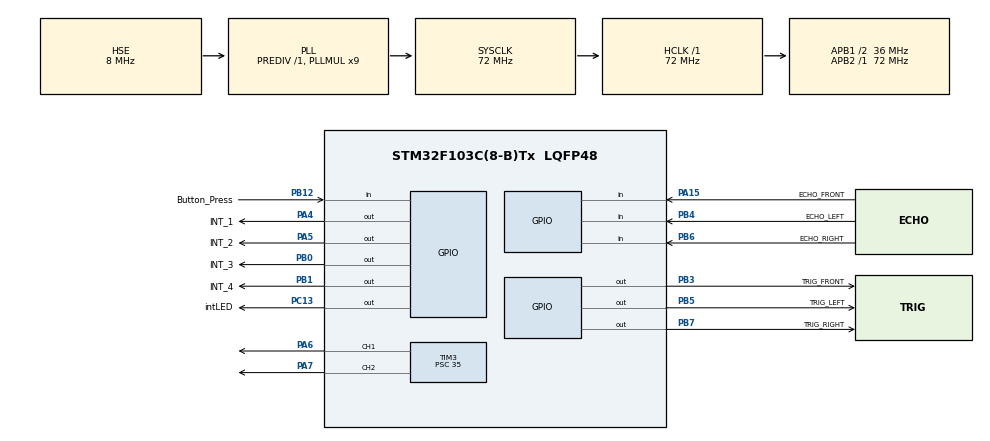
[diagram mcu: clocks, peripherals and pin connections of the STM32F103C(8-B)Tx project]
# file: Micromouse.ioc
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Mcu.Family=STM32F1
Mcu.Name=STM32F103C(8-B)Tx
Mcu.Package=LQFP48
NVIC.PriorityGroup=NVIC_PRIORITYGROUP_4
NVIC.TIM3_IRQn=true\:2\:0\:true\:false\:true\:true\:true\:true
PA13.Mode=Serial_Wire
PA13.Signal=SYS_JTMS-SWDIO
PA14.Mode=Serial_Wire
PA14.Signal=SYS_JTCK-SWCLK
PA15.GPIO_Label=ECHO_FRONT
PA15.Signal=GPIO_Input
PA4.GPIO_Label=INT_1
PA4.GPIO_PuPd=GPIO_PULLUP
PA4.Signal=GPIO_Output
PA5.GPIO_Label=INT_2
PA5.GPIO_PuPd=GPIO_PULLUP
PA5.Signal=GPIO_Output
PA6.Signal=S_TIM3_CH1
PA7.Signal=S_TIM3_CH2
PB0.GPIO_Label=INT_3
PB0.GPIO_PuPd=GPIO_PULLUP
PB0.Signal=GPIO_Output
PB1.GPIO_Label=INT_4
PB1.GPIO_PuPd=GPIO_PULLUP
PB1.Signal=GPIO_Output
PB12.GPIO_Label=Button_Press
PB12.GPIO_PuPd=GPIO_PULLUP
PB12.Signal=GPIO_Input
PB3.GPIO_Label=TRIG_FRONT
PB3.Signal=GPIO_Output
PB4.GPIO_Label=ECHO_LEFT
PB4.Signal=GPIO_Input
PB5.GPIO_Label=TRIG_LEFT
PB5.Signal=GPIO_Output
PB6.GPIO_Label=ECHO_RIGHT
PB6.Signal=GPIO_Input
PB7.GPIO_Label=TRIG_RIGHT
PB7.Signal=GPIO_Output
PC13-TAMPER-RTC.GPIO_Label=intLED
PC13-TAMPER-RTC.Signal=GPIO_Output
PD0-OSC_IN.Mode=HSE-External-Oscillator
PD0-OSC_IN.Signal=RCC_OSC_IN
PD1-OSC_OUT.Mode=HSE-External-Oscillator
PD1-OSC_OUT.Signal=RCC_OSC_OUT
ProjectManager.HeapSize=0x2040
ProjectManager.StackSize=0x200
ProjectManager.TargetToolchain=MDK-ARM V5.27
RCC.AHBFreq_Value=72000000
RCC.APB1CLKDivider=RCC_HCLK_DIV2
RCC.APB1Freq_Value=36000000
RCC.APB1TimFreq_Value=72000000
RCC.APB2Freq_Value=72000000
RCC.APB2TimFreq_Value=72000000
RCC.HCLKFreq_Value=72000000
RCC.PLLMUL=RCC_PLL_MUL9
RCC.PLLSourceVirtual=RCC_PLLSOURCE_HSE
RCC.SYSCLKFreq_VALUE=72000000
RCC.SYSCLKSource=RCC_SYSCLKSOURCE_PLLCLK
RCC.USBFreq_Value=72000000
SH.S_TIM3_CH1.0=TIM3_CH1,PWM Generation1 CH1
SH.S_TIM3_CH2.0=TIM3_CH2,PWM Generation2 CH2
TIM1.Prescaler=71
TIM3.Channel-PWM\ Generation1\ CH1=TIM_CHANNEL_1
TIM3.Channel-PWM\ Generation2\ CH2=TIM_CHANNEL_2
TIM3.Period=999
TIM3.Prescaler=35
VP_TIM1_VS_ClockSourceINT.Mode=Internal
VP_TIM3_VS_ClockSourceINT.Mode=Internal
board=custom

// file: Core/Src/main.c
/* USER CODE BEGIN Header */
/* USER CODE END Header */
#include "main.h"

/* USER CODE BEGIN Includes */
#include "init.h"
#include "motor.h"
/* USER CODE END Includes */

/* USER CODE BEGIN PD */

#ifndef true
#define true 1
#endif
#ifndef false
#define false 0
#endif
#ifndef COL
#define COL COL
#endif
#ifndef ROW
#define ROW ROW
#endif

#define checknorth ((thisnode->wallval >> 0)%2)
#define checkeast  ((thisnode->wallval >> 1)%2)
#define checksouth ((thisnode->wallval >> 2)%2)
#define checkwest  ((thisnode->wallval >> 3)%2)
#define NORTH 1
#define EAST 2
#define SOUTH 4
#define WEST 8
/* USER CODE END PD */

TIM_HandleTypeDef htim1;
TIM_HandleTypeDef htim3;

/* USER CODE BEGIN PV */
const char Wall = 'x';
const char Path = ' ';
uint16_t RSensor, FSensor, LSensor;
uint8_t check = 0;
uint16_t tempsen;
/* USER CODE END PV */

void SystemClock_Config(void);
static void MX_GPIO_Init(void);
static void MX_TIM1_Init(void);
static void MX_TIM3_Init(void);
/* USER CODE BEGIN PFP */
void delay_us(uint16_t us){
	__HAL_TIM_SetCounter(&htim1, 0);
	while(__HAL_TIM_GetCounter(&htim1) < us);
}

void trigger1(){
	HAL_GPIO_WritePin(TRIG_FRONT_GPIO_Port, TRIG_FRONT_Pin, 1);
	delay_us(1000);
	HAL_GPIO_WritePin(TRIG_FRONT_GPIO_Port, TRIG_FRONT_Pin, 0);
}
void trigger2(){
	HAL_GPIO_WritePin(TRIG_LEFT_GPIO_Port, TRIG_LEFT_Pin, 1);
	delay_us(1000);
	HAL_GPIO_WritePin(TRIG_LEFT_GPIO_Port, TRIG_LEFT_Pin, 0);
}
void trigger3(){
	HAL_GPIO_WritePin(TRIG_RIGHT_GPIO_Port, TRIG_RIGHT_Pin, 1);
	delay_us(1000);
	HAL_GPIO_WritePin(TRIG_RIGHT_GPIO_Port, TRIG_RIGHT_Pin, 0);
}

Node *newnode(uint8_t row, uint8_t col){
    Node *thisnode;
    thisnode = (Node*) malloc(sizeof(Node));
    ROW = row;
    COL = col;
    thisnode->visit = false;
    thisnode->wallval = 0;
    return thisnode;
}

Maze *newmaze(){
    Maze *thismaze;
    thismaze = (Maze*) malloc(sizeof(Maze));
    for (int row = 0; row<size; row++)
        for (int col = 0; col<size; col++)
            thismaze->map[row][col] = newnode(row,col);

    return thismaze;
}

Stack *newstack(){
    Stack *thisstack;
    thisstack = (Stack*) malloc(sizeof(Stack));
    thisstack->index = 0;
    return thisstack;
}

uint8_t checkgoal(Node *thisnode){
    if(ROW == size/2 || ROW == (size/2)-1)
        if(COL == size/2 || COL == (size/2)-1)
            return true;
    return false;
}

uint8_t checkstart(Node *thisnode){
    if(ROW == size-1 && COL == 0)
        return true;
    return false;
}

uint8_t checknull(uint8_t row, uint8_t col){
    if(row < 0 || row >= size || col < 0 || col >= size)
        return 1;
    else return 0;
}

void deleteNode(Node **thisnode){
    free (*thisnode);
    *thisnode = 0;
}

void deleteMaze(Maze **thismaze){
    for (int row = 0; row<size; row++)
        for (int col = 0; col<size; col++)
            deleteNode(&((*thismaze)->map[row][col]));
    free (*thismaze);
    *thismaze = 0;
}

void deleteStack(Stack **thisstack){
    for (int idx = ((*thisstack)->index)-1; idx>=0 ; idx--){
        deleteNode(&((*thisstack)->Stack[idx]));
    }
    free (*thisstack);
    *thisstack = 0;
}

void push(Stack **thisstack, Node **thisnode){
    (*thisstack)->Stack[(*thisstack)->index] = *thisnode;
    (*thisstack)->index += 1;
}

void pop(Stack **thisstack, Node **thisnode){
    (*thisstack)->index -=1;
    *thisnode = (*thisstack)->Stack[(*thisstack)->index];
}

void initial_maze(Maze *maze){
    for(int i =0; i<size;i++){
        for(int j=0;j<size;j++){
            maze->map[i][j]->floodval = -1;
        }
    }

    maze->map[size/2][size/2]->floodval = 0;
    maze->map[size/2 -1][size/2]->floodval = 0;
    maze->map[size/2][size/2 -1]->floodval =  0;
    maze->map[size/2 -1][size/2 -1]->floodval = 0;

    for(int i=0;i<size;i++){
        for(int j=0;j<size;j++){
            if(maze->map[i][j]->floodval !=0){
                int array[]={(abs(i-(size/2))+abs(j-(size/2))),(abs(i-(size/2 -1))+abs(j-(size/2))),(abs(i-(size/2))+abs(j-(size/2 -1))),(abs(i-(size/2 -1))+abs(j-(size/2 -1)))};
                int min =array[0];
                for(int k=1; k<4;k++){
                    if(min>array[k]){
                        min=array[k];
                    }
                }
                maze->map[i][j]->floodval=min;
                maze->map[i][j]->Mandis=min;
            }
        }
    }
}

void swap (Node **xp, Node **yp){
    Node *temp = *xp; *xp = *yp; *yp = temp;

}
uint8_t findnextdir(Node *thisnode, Maze *maze, uint8_t findmin){
    uint8_t min = 16, count = 0, next_dir;
    Node *neighbor[4];
    if (checknull(ROW-1, COL) == 0 && !checknorth) {
        neighbor[count] = maze->map[ROW - 1][COL];
        count +=1;
    }
    if (checknull(ROW, COL+1) == 0 && !checkeast) {
        neighbor[count] = maze->map[ROW][COL + 1];
        count +=1;
    }
    if (checknull(ROW+1, COL) == 0 && !checksouth) {
        neighbor[count] = maze->map[ROW + 1][COL];
        count +=1;
    }
    if (checknull(ROW, COL-1) == 0 && !checkwest) {
        neighbor[count] = maze->map[ROW][COL - 1];
        count +=1;
    }

    for (int i = 0; i < count-1; i++){
        for (int j = 1; j < count; j++){
            if (neighbor[i]->floodval > neighbor[j]->floodval)
                swap(&(neighbor[i]), &(neighbor[j]));
            else if (neighbor[i]->floodval == neighbor[j]->floodval){
                if (neighbor[i]->visit > neighbor[j]->visit )
                    swap(&(neighbor[i]), &(neighbor[j]));
                else if (neighbor[i]->visit == neighbor[j]->visit){
                    if (neighbor[i]->Mandis > neighbor[j]->Mandis)
                        swap(&(neighbor[i]), &(neighbor[j]));
                }
            }
        }
    }

    if (findmin == true)
        return neighbor[0]->floodval;

    if (maze->map[ROW - 1][COL] == neighbor[0]) next_dir = NORTH;
    else if (maze->map[ROW][COL + 1] == neighbor[0]) next_dir = EAST;
    else if (maze->map[ROW + 1][COL] == neighbor[0]) next_dir = SOUTH;
    else if (maze->map[ROW][COL - 1] == neighbor[0]) next_dir = WEST;
    return next_dir;
}

void moveto(Node **pos, uint8_t *dir, Maze *maze, uint8_t next_dir){
    uint8_t rotation;
    rotation = (4*(*dir))/next_dir;
    if(rotation == 0)
        rotation = 8;
    if(rotation == 32)
        rotation = 2;
    switch(rotation){
        case 2:
            TurnRight();
						HAL_Delay(200);
            break;
        case 8:
            TurnLeft();
						HAL_Delay(200);
            break;
        case 1:
        case 16:
            Turn180();
						HAL_Delay(200);

        case 4:
            break;
        default: ;
    }
	uint16_t addi = 0;

	switch(next_dir){
		case NORTH:
			if(((*pos)->wallval >> 2)%2 == true)
				{
					MoveBackward();
					HAL_Delay(410);
					Stop();
					HAL_Delay(100);
					addi = 40;
				}
			break;
		case SOUTH:
			if(((*pos)->wallval >> 0)%2 == true)
				{
					MoveBackward();
					HAL_Delay(410);
					Stop();
					HAL_Delay(100);
					addi = 40;
				}
				break;
		case EAST:
			if(((*pos)->wallval >> 3)%2 == true)
				{
					MoveBackward();
					HAL_Delay(410);
					Stop();
					HAL_Delay(100);
					addi = 40;
				}
				break;
		case WEST:
			if(((*pos)->wallval >> 1)%2 == true)
				{
					MoveBackward();
					HAL_Delay(410);
					Stop();
					HAL_Delay(100);
					addi = 40;
				}
				break;

	}

/*
	uint16_t start = HAL_GetTick();

	while(HAL_GetTick() - start < (600+addi)){
		uint8_t count = 0;
		LSensor = RSensor = 0;
			MoveForward();
		for (; count <= 20; count++){
		trigger2();
		while(HAL_GPIO_ReadPin(ECHO_LEFT_GPIO_Port, ECHO_LEFT_Pin) == 0){check = 1;}
		check = 0;
		__HAL_TIM_SetCounter(&htim1, 0);
		while(HAL_GPIO_ReadPin(ECHO_LEFT_GPIO_Port, ECHO_LEFT_Pin) == 1){}
		LSensor += __HAL_TIM_GetCounter(&htim1)/5.8;
		HAL_Delay(10);

		//
		trigger3();
		while(HAL_GPIO_ReadPin(ECHO_RIGHT_GPIO_Port, ECHO_RIGHT_Pin) == 0){check = 1;}
		check = 0;
		__HAL_TIM_SetCounter(&htim1, 0);
		while(HAL_GPIO_ReadPin(ECHO_RIGHT_GPIO_Port, ECHO_RIGHT_Pin) == 1){}
		RSensor += __HAL_TIM_GetCounter(&htim1)/5.8;
		HAL_Delay(10);
		}
		CheckForward(LSensor, RSensor);
		HAL_Delay(50);
	}
*/
	MoveForward();
	HAL_Delay(845+addi);
//	HAL_Delay(710+addi/10);
	Stop();

	trigger1();
	while(HAL_GPIO_ReadPin(ECHO_FRONT_GPIO_Port, ECHO_FRONT_Pin) == 0){check = 1;}
	check = 0;
	__HAL_TIM_SetCounter(&htim1, 0);
	while(HAL_GPIO_ReadPin(ECHO_FRONT_GPIO_Port, ECHO_FRONT_Pin) == 1){}
	FSensor = __HAL_TIM_GetCounter(&htim1)/5.8;
	HAL_Delay(10);
	if(FSensor < 100){
		MoveForward();
		HAL_Delay(420);
		Stop();
		HAL_Delay(80);
		MoveBackwardSlow();
		HAL_Delay(170);
		Stop();
	}

	addi = 0;

    *dir = next_dir;
    switch(next_dir){
        case NORTH:
            *pos = maze->map[(*pos)->row - 1][(*pos)->col];
            break;
        case EAST:
            *pos = maze->map[(*pos)->row][(*pos)->col + 1];
            break;
        case SOUTH:
            *pos = maze->map[(*pos)->row + 1][(*pos)->col];
            break;
        case WEST:
            *pos = maze->map[(*pos)->row][(*pos)->col - 1];
    }
}

void recalculate(Node *thisnode, Maze *maze, Stack *stack){
    push(&stack, &thisnode);
    do{
        pop(&stack, &thisnode);
        uint8_t min = findnextdir(thisnode, maze, true);
        if(thisnode->floodval <= min){
            thisnode->floodval = min+1;
            if(checknull(ROW, COL-1) == 0 && !checkwest){
                push(&stack,&(maze->map[ROW][COL - 1]));
            }
            if(checknull(ROW+1, COL) == 0 && !checksouth){
                push(&stack,&(maze->map[ROW + 1][COL]));
            }
            if(checknull(ROW, COL+1) == 0 && !checkeast){
                push(&stack,&(maze->map[ROW][COL + 1]));
            }
            if(checknull(ROW-1, COL) == 0 && !checknorth){
                push(&stack,&(maze->map[ROW - 1][COL]));
            }
        }
    }
    while(stack->index != 0);
}

uint8_t checkstack(Stack *thisstack, Node *thisnode){
    for (int i = 0; i < thisstack->index; i++)
        if (thisnode == (thisstack->Stack[i]))
            return 0;
    return 1;
}

void reflood(Maze *maze, uint8_t togoal){
    Stack *stack1 = newstack(), *stack2 = newstack();
    Node *thisnode;
    uint8_t i = 0;
    for(int i =0; i<size;i++){
        for(int j=0;j<size;j++){
            maze->map[i][j]->floodval = 255;
        }
    }

    if (togoal == true){
        maze->map[size/2][size/2]->floodval = 0;
        maze->map[size/2 -1][size/2]->floodval = 0;
        maze->map[size/2][size/2 -1]->floodval =  0;
        maze->map[size/2 -1][size/2 -1]->floodval = 0;

        push(&stack1, &(maze->map[size/2][size/2-1]));
        push(&stack1, &(maze->map[size/2][size/2]));
        push(&stack1, &(maze->map[size/2-1][size/2-1]));
        push(&stack1, &(maze->map[size/2-1][size/2]));
    }

    else {
        maze->map[size-1][0]->floodval = 0;
        push(&stack1, &(maze->map[size-1][0]));
    }

    do {
        do {
            pop(&stack1, &thisnode);
            if(checknull(ROW, COL - 1) == 0 && !checkwest  && (maze->map[ROW][COL - 1]->floodval)>i+1 && checkstack(stack2, maze->map[ROW][COL - 1])){
                maze->map[ROW][COL - 1]->floodval = i+1;
                push(&stack2,&(maze->map[ROW][COL - 1]));
            }
            if(checknull(ROW + 1, COL) == 0 && !checksouth && (maze->map[ROW + 1][COL]->floodval)>i+1 && checkstack(stack2, maze->map[ROW + 1][COL])){
                maze->map[ROW + 1][COL]->floodval = i+1;
                push(&stack2,&(maze->map[ROW + 1][COL]));
            }
            if(checknull(ROW, COL + 1) == 0 && !checkeast  && (maze->map[ROW][COL + 1]->floodval)>i+1 && checkstack(stack2, maze->map[ROW][COL + 1])){
                maze->map[ROW][COL + 1]->floodval = i+1;
                push(&stack2,&(maze->map[ROW][COL + 1]));
            }
            if(checknull(ROW - 1, COL) == 0 && !checknorth && (maze->map[ROW - 1][COL]->floodval)>i+1 && checkstack(stack2, maze->map[ROW - 1][COL])){
                maze->map[ROW - 1][COL]->floodval = i+1;
                push(&stack2,&(maze->map[ROW - 1][COL]));
            }
        } while (stack1->index != 0);
        Stack *temp = stack1;
        stack1 = stack2;
        stack2 = temp;
        i++;
    } while (stack1->index != 0);

    deleteStack(&stack1);
    deleteStack(&stack2);
}

void updatecell(Node *thisnode, Maze *maze, uint8_t dir){
    switch (dir)
    {
    case SOUTH:
        if (checknull(ROW+1, COL) == 0)
            maze->map[ROW + 1][COL]->wallval = maze->map[ROW + 1][COL]->wallval | NORTH;
        break;
    case NORTH:
        if (checknull(ROW-1, COL) == 0)
            maze->map[ROW - 1][COL]->wallval = maze->map[ROW - 1][COL]->wallval | SOUTH;
        break;
    case EAST:
        if (checknull(ROW, COL+1) == 0)
            maze->map[ROW][COL + 1]->wallval = maze->map[ROW][COL + 1]->wallval | WEST;
        break;
    case WEST:
        if (checknull(ROW, COL-1) == 0)
            maze->map[ROW][COL - 1]->wallval = maze->map[ROW][COL - 1]->wallval | EAST;
        break;
    default:
        break;
    };
}

/* USER CODE END PFP */

int main(void)
{

  /* MCU Configuration--------------------------------------------------------*/

  /* Reset of all peripherals, Initializes the Flash interface and the Systick. */
  HAL_Init();

  /* Configure the system clock */
  SystemClock_Config();

  /* Initialize all configured peripherals */
  MX_GPIO_Init();
  MX_TIM1_Init();
  MX_TIM3_Init();
  /* USER CODE BEGIN 2 */
	HAL_TIM_Base_Start(&htim1);

	HAL_TIM_Base_Start(&htim3);
	HAL_TIM_PWM_Start(&htim3,TIM_CHANNEL_1);
	HAL_TIM_PWM_Start(&htim3,TIM_CHANNEL_2);

	char maze_text[2*size + 1][2*size + 1] = {
{'x',	'x',	'x',	'x',	'x',	'x',	'x',	'x',	'x',	'x',	'x',	'x',	'x',	'x',	'x',	'x',	'x',	'x',	'x',	'x',	'x',	'x',	'x',	'x',	'x',	'x',	'x',	'x',	'x',	'x',	'x',	'x',	'x'	 },
{'x',	' ',	' ',	' ',	' ',	' ',	' ',	' ',	' ',	' ',	' ',	' ',	'x',	' ',	' ',	' ',	' ',	' ',	' ',	' ',	' ',	' ',	' ',	' ',	' ',	' ',	' ',	' ',	' ',	' ',	' ',	' ',	'x'	 },
{'x',	' ',	'x',	'x',	'x',	'x',	'x',	'x',	'x',	' ',	'x',	'x',	'x',	' ',	'x',	'x',	'x',	' ',	'x',	'x',	'x',	'x',	'x',	'x',	'x',	'x',	'x',	' ',	'x',	' ',	'x',	' ',	'x'	 },
{'x',	' ',	' ',	' ',	' ',	' ',	' ',	' ',	' ',	' ',	' ',	' ',	'x',	' ',	' ',	' ',	'x',	' ',	'x',	' ',	' ',	' ',	' ',	' ',	'x',	' ',	'x',	' ',	'x',	' ',	'x',	' ',	'x'	 },
{'x',	' ',	'x',	' ',	'x',	' ',	'x',	'x',	'x',	'x',	'x',	' ',	'x',	' ',	'x',	'x',	'x',	' ',	'x',	' ',	'x',	'x',	'x',	' ',	'x',	' ',	'x',	' ',	'x',	' ',	'x',	' ',	'x'	 },
{'x',	' ',	'x',	' ',	'x',	' ',	' ',	' ',	' ',	' ',	'x',	' ',	'x',	' ',	' ',	' ',	' ',	' ',	' ',	' ',	' ',	' ',	' ',	' ',	' ',	' ',	' ',	' ',	' ',	' ',	'x',	' ',	'x'	 },
{'x',	' ',	'x',	' ',	'x',	'x',	'x',	'x',	'x',	'x',	'x',	' ',	'x',	' ',	'x',	'x',	'x',	'x',	'x',	'x',	'x',	'x',	'x',	'x',	'x',	'x',	'x',	' ',	'x',	' ',	'x',	' ',	'x'	 },
{'x',	' ',	' ',	' ',	'x',	' ',	' ',	' ',	' ',	' ',	'x',	' ',	' ',	' ',	'x',	' ',	' ',	' ',	'x',	' ',	' ',	' ',	' ',	' ',	'x',	' ',	'x',	' ',	'x',	' ',	' ',	' ',	'x'	 },
{'x',	'x',	'x',	' ',	'x',	' ',	'x',	'x',	'x',	' ',	'x',	' ',	'x',	' ',	'x',	' ',	'x',	' ',	'x',	' ',	'x',	'x',	'x',	' ',	'x',	' ',	'x',	' ',	'x',	'x',	'x',	'x',	'x'	 },
{'x',	' ',	' ',	' ',	'x',	' ',	'x',	' ',	' ',	' ',	'x',	' ',	'x',	' ',	'x',	' ',	'x',	' ',	' ',	' ',	'x',	' ',	' ',	' ',	'x',	' ',	' ',	' ',	' ',	' ',	' ',	' ',	'x'	 },
{'x',	' ',	'x',	' ',	'x',	' ',	'x',	' ',	'x',	' ',	'x',	' ',	'x',	' ',	'x',	' ',	'x',	'x',	'x',	' ',	'x',	'x',	'x',	' ',	'x',	'x',	'x',	'x',	'x',	' ',	'x',	' ',	'x'	 },
{'x',	' ',	' ',	' ',	'x',	' ',	' ',	' ',	'x',	' ',	' ',	' ',	'x',	' ',	'x',	' ',	' ',	' ',	' ',	' ',	'x',	' ',	'x',	' ',	' ',	' ',	' ',	' ',	' ',	' ',	'x',	' ',	'x'	 },
{'x',	' ',	'x',	'x',	'x',	' ',	'x',	'x',	'x',	'x',	'x',	' ',	'x',	' ',	'x',	' ',	'x',	'x',	'x',	'x',	'x',	' ',	'x',	' ',	'x',	'x',	'x',	'x',	'x',	'x',	'x',	' ',	'x'	 },
{'x',	' ',	' ',	' ',	' ',	' ',	' ',	' ',	' ',	' ',	' ',	' ',	'x',	' ',	'x',	' ',	' ',	' ',	'x',	' ',	'x',	' ',	' ',	' ',	'x',	' ',	' ',	' ',	' ',	' ',	' ',	' ',	'x'	 },
{'x',	' ',	'x',	'x',	'x',	'x',	'x',	'x',	'x',	'x',	'x',	'x',	'x',	' ',	'x',	'x',	'x',	' ',	'x',	' ',	'x',	' ',	'x',	'x',	'x',	' ',	'x',	'x',	'x',	'x',	'x',	' ',	'x'	 },
{'x',	' ',	' ',	' ',	' ',	' ',	' ',	' ',	' ',	' ',	'x',	' ',	' ',	' ',	'x',	' ',	' ',	' ',	'x',	' ',	'x',	' ',	'x',	' ',	' ',	' ',	'x',	' ',	' ',	' ',	' ',	' ',	'x'	 },
{'x',	' ',	'x',	'x',	'x',	' ',	'x',	'x',	'x',	' ',	'x',	' ',	'x',	'x',	'x',	' ',	'x',	' ',	'x',	' ',	'x',	' ',	'x',	' ',	'x',	' ',	'x',	' ',	'x',	' ',	'x',	'x',	'x'	 },
{'x',	' ',	' ',	' ',	' ',	' ',	' ',	' ',	'x',	' ',	'x',	' ',	' ',	' ',	'x',	' ',	' ',	' ',	'x',	' ',	'x',	' ',	'x',	' ',	'x',	' ',	'x',	' ',	'x',	' ',	' ',	' ',	'x'	 },
{'x',	' ',	'x',	' ',	'x',	'x',	'x',	' ',	'x',	' ',	'x',	' ',	'x',	' ',	'x',	'x',	'x',	'x',	'x',	' ',	'x',	' ',	'x',	' ',	'x',	' ',	'x',	' ',	'x',	' ',	'x',	'x',	'x'	 },
{'x',	' ',	'x',	' ',	'x',	' ',	' ',	' ',	'x',	' ',	'x',	' ',	'x',	' ',	'x',	' ',	' ',	' ',	' ',	' ',	' ',	' ',	'x',	' ',	' ',	' ',	'x',	' ',	' ',	' ',	' ',	' ',	'x'	 },
{'x',	' ',	'x',	' ',	'x',	' ',	'x',	' ',	'x',	' ',	'x',	' ',	'x',	' ',	'x',	' ',	'x',	' ',	'x',	'x',	'x',	'x',	'x',	'x',	'x',	' ',	'x',	' ',	'x',	'x',	'x',	' ',	'x'	 },
{'x',	' ',	'x',	' ',	'x',	' ',	'x',	' ',	' ',	' ',	'x',	' ',	' ',	' ',	'x',	' ',	'x',	' ',	' ',	' ',	' ',	' ',	'x',	' ',	' ',	' ',	'x',	' ',	'x',	' ',	' ',	' ',	'x'	 },
{'x',	' ',	'x',	' ',	'x',	' ',	'x',	' ',	'x',	' ',	'x',	' ',	'x',	'x',	'x',	' ',	'x',	'x',	'x',	'x',	'x',	'x',	'x',	' ',	'x',	'x',	'x',	' ',	'x',	' ',	'x',	' ',	'x'	 },
{'x',	' ',	'x',	' ',	' ',	' ',	'x',	' ',	'x',	' ',	'x',	' ',	' ',	' ',	' ',	' ',	' ',	' ',	'x',	' ',	' ',	' ',	' ',	' ',	' ',	' ',	' ',	' ',	' ',	' ',	'x',	' ',	'x'	 },
{'x',	' ',	'x',	' ',	'x',	'x',	'x',	' ',	'x',	' ',	'x',	' ',	'x',	'x',	'x',	' ',	'x',	' ',	'x',	' ',	'x',	'x',	'x',	'x',	'x',	'x',	'x',	' ',	'x',	'x',	'x',	' ',	'x'	 },
{'x',	' ',	'x',	' ',	' ',	' ',	'x',	' ',	'x',	' ',	'x',	' ',	' ',	' ',	'x',	' ',	'x',	' ',	' ',	' ',	'x',	' ',	' ',	' ',	' ',	' ',	' ',	' ',	' ',	' ',	' ',	' ',	'x'	 },
{'x',	' ',	'x',	'x',	'x',	' ',	'x',	' ',	'x',	' ',	'x',	'x',	'x',	' ',	'x',	' ',	'x',	'x',	'x',	' ',	'x',	'x',	'x',	' ',	'x',	'x',	'x',	'x',	'x',	'x',	'x',	'x',	'x'	 },
{'x',	' ',	'x',	' ',	' ',	' ',	'x',	' ',	' ',	' ',	' ',	' ',	' ',	' ',	'x',	' ',	' ',	' ',	'x',	' ',	'x',	' ',	' ',	' ',	'x',	' ',	' ',	' ',	' ',	' ',	'x',	' ',	'x'	 },
{'x',	' ',	'x',	' ',	'x',	'x',	'x',	' ',	'x',	'x',	'x',	'x',	'x',	' ',	'x',	' ',	'x',	'x',	'x',	' ',	'x',	' ',	'x',	' ',	'x',	'x',	'x',	'x',	'x',	' ',	'x',	' ',	'x'	 },
{'x',	' ',	' ',	' ',	' ',	' ',	'x',	' ',	' ',	' ',	' ',	' ',	' ',	' ',	'x',	' ',	' ',	' ',	'x',	' ',	'x',	' ',	'x',	' ',	' ',	' ',	' ',	' ',	' ',	' ',	' ',	' ',	'x'	 },
{'x',	' ',	'x',	'x',	'x',	' ',	'x',	' ',	'x',	'x',	'x',	'x',	'x',	'x',	'x',	' ',	'x',	' ',	'x',	' ',	'x',	' ',	'x',	' ',	'x',	' ',	'x',	' ',	'x',	'x',	'x',	' ',	'x'	 },
{'x',	' ',	'x',	' ',	' ',	' ',	'x',	' ',	'x',	' ',	' ',	' ',	' ',	' ',	' ',	' ',	'x',	' ',	' ',	' ',	'x',	' ',	' ',	' ',	'x',	' ',	'x',	' ',	' ',	' ',	' ',	' ',	'x'	 },
{'x',	'x',	'x',	'x',	'x',	'x',	'x',	'x',	'x',	'x',	'x',	'x',	'x',	'x',	'x',	'x',	'x',	'x',	'x',	'x',	'x',	'x',	'x',	'x',	'x',	'x',	'x',	'x',	'x',	'x',	'x',	'x',	'x'	 },

};

	Maze *maze = newmaze();
	Stack *stack = newstack();
	Node *pos, *nextnode;
	initial_maze(maze);
	uint8_t dir, next_dir, movecount, goalcount, togoal = true;
	pos = maze->map[size-1][0];
	dir = NORTH;
	HAL_Delay(1000);
	HAL_GPIO_WritePin(intLED_GPIO_Port, intLED_Pin, 0);
	HAL_Delay(500);
	HAL_GPIO_WritePin(intLED_GPIO_Port, intLED_Pin, 1);
	uint8_t readmaptext = 0, min;
	uint8_t ButtonPressed;

	while(0)
 {
		MoveForward();

	 } /* USER CODE END 2 */

  /* Infinite loop */
  /* USER CODE BEGIN WHILE */

	 while (1){
		if(0){
			HAL_Delay(20);
			if(HAL_GPIO_ReadPin(GPIOA, Button_Press_Pin)){
				pos->visit = false;
				pos = maze->map[size-1][0];
				dir = NORTH;
				while(HAL_GPIO_ReadPin(GPIOA, Button_Press_Pin));
				HAL_Delay(1000);
			}
		}
	HAL_Delay(800);
	//read sensor
	trigger1();
	while(HAL_GPIO_ReadPin(ECHO_FRONT_GPIO_Port, ECHO_FRONT_Pin) == 0){check = 1;}
	check = 0;
	__HAL_TIM_SetCounter(&htim1, 0);
	while(HAL_GPIO_ReadPin(ECHO_FRONT_GPIO_Port, ECHO_FRONT_Pin) == 1){}
	FSensor = __HAL_TIM_GetCounter(&htim1)/58;
	HAL_Delay(10);

	//
	trigger2();
	while(HAL_GPIO_ReadPin(ECHO_LEFT_GPIO_Port, ECHO_LEFT_Pin) == 0){check = 1;}
	check = 0;
	__HAL_TIM_SetCounter(&htim1, 0);
	while(HAL_GPIO_ReadPin(ECHO_LEFT_GPIO_Port, ECHO_LEFT_Pin) == 1){}
	LSensor = __HAL_TIM_GetCounter(&htim1)/58;
	HAL_Delay(10);

	//
	trigger3();
	while(HAL_GPIO_ReadPin(ECHO_RIGHT_GPIO_Port, ECHO_RIGHT_Pin) == 0){check = 1;}
	check = 0;
	__HAL_TIM_SetCounter(&htim1, 0);
	while(HAL_GPIO_ReadPin(ECHO_RIGHT_GPIO_Port, ECHO_RIGHT_Pin) == 1){}
	RSensor = __HAL_TIM_GetCounter(&htim1)/58;
	HAL_Delay(10);
		if(readmaptext == 0 & (pos->visit)==0){
			if (FSensor <= 10) {
					pos->wallval = pos->wallval | dir;
					updatecell(pos, maze, dir);
			}
			if (RSensor <= 7) {
					pos->wallval = pos->wallval | ((dir == WEST) ? NORTH : dir*2);
					updatecell(pos, maze, dir*2);
			}
			if (LSensor <= 7) {
					pos->wallval = pos->wallval | ((dir == NORTH) ? WEST : dir/2);
					updatecell(pos, maze, dir/2);
			}
			pos->visit = true;
		}

		if(readmaptext==1 & (pos->visit)==0){
			if (maze_text[2*(pos->row)+2][2*(pos->col)+1] == Wall) {
				pos->wallval = pos->wallval | SOUTH;
				updatecell(pos, maze, SOUTH);
			}
			if (maze_text[2*(pos->row)][2*(pos->col)+1] == Wall) {
				pos->wallval = pos->wallval | NORTH;
				updatecell(pos, maze, NORTH);
			}
			if (maze_text[2*(pos->row)+1][2*(pos->col)+2] == Wall) {
				pos->wallval = pos->wallval | EAST;
				updatecell(pos, maze, EAST);
			}
			if (maze_text[2*(pos->row)+1][2*(pos->col)] == Wall) {
				pos->wallval = pos->wallval | WEST;
				updatecell(pos, maze, WEST);
			}
			pos->visit = true;
		}

		recalculate(pos, maze, stack);
		next_dir = findnextdir(pos, maze, false);
		moveto(&pos, &dir, maze, next_dir);
			HAL_GPIO_WritePin(intLED_GPIO_Port, intLED_Pin, 0);
			HAL_Delay(100);
			HAL_GPIO_WritePin(intLED_GPIO_Port, intLED_Pin, 1);
			HAL_Delay(100);
		if(checkgoal(pos) && togoal){
			Node *temp = pos;
			do{
				if(readmaptext & !(pos->visit)){
					if (maze_text[2*(pos->row)+2][2*(pos->col)+1] == Wall) {
						pos->wallval = pos->wallval | SOUTH;
						updatecell(pos, maze, SOUTH);
					}
					if (maze_text[2*(pos->row)][2*(pos->col)+1] == Wall) {
						pos->wallval = pos->wallval | NORTH;
						updatecell(pos, maze, NORTH);
					}
					if (maze_text[2*(pos->row)+1][2*(pos->col)+2] == Wall) {
						pos->wallval = pos->wallval | EAST;
						updatecell(pos, maze, EAST);
					}
					if (maze_text[2*(pos->row)+1][2*(pos->col)] == Wall) {
						pos->wallval = pos->wallval | WEST;
						updatecell(pos, maze, WEST);
					}
					pos->visit = true;
				}
				else break;
				moveto(&pos, &dir, maze, next_dir);
				next_dir = findnextdir(pos, maze, false);
			} while(pos != temp);

			togoal = false;
			reflood(maze, togoal);
			while(1){
			HAL_GPIO_WritePin(intLED_GPIO_Port, intLED_Pin, 0);
			HAL_Delay(1000);
			HAL_GPIO_WritePin(intLED_GPIO_Port, intLED_Pin, 1);
			HAL_Delay(1000);}
	}

		if (checkstart(pos) && !togoal){
			togoal = true;
			reflood(maze, togoal);
			HAL_GPIO_WritePin(intLED_GPIO_Port, intLED_Pin, 0);
			HAL_Delay(2000);
			HAL_GPIO_WritePin(intLED_GPIO_Port, intLED_Pin, 1);
			HAL_Delay(2000);
		}

}

    /* USER CODE END WHILE */

}

void SystemClock_Config(void)
{
  RCC_OscInitTypeDef RCC_OscInitStruct = {0};
  RCC_ClkInitTypeDef RCC_ClkInitStruct = {0};

  /** Initializes the RCC Oscillators according to the specified parameters
  * in the RCC_OscInitTypeDef structure.
  */
  RCC_OscInitStruct.OscillatorType = RCC_OSCILLATORTYPE_HSE;
  RCC_OscInitStruct.HSEState = RCC_HSE_ON;
  RCC_OscInitStruct.HSEPredivValue = RCC_HSE_PREDIV_DIV1;
  RCC_OscInitStruct.HSIState = RCC_HSI_ON;
  RCC_OscInitStruct.PLL.PLLState = RCC_PLL_ON;
  RCC_OscInitStruct.PLL.PLLSource = RCC_PLLSOURCE_HSE;
  RCC_OscInitStruct.PLL.PLLMUL = RCC_PLL_MUL9;
  if (HAL_RCC_OscConfig(&RCC_OscInitStruct) != HAL_OK)
  {
    Error_Handler();
  }

  /** Initializes the CPU, AHB and APB buses clocks
  */
  RCC_ClkInitStruct.ClockType = RCC_CLOCKTYPE_HCLK|RCC_CLOCKTYPE_SYSCLK
                              |RCC_CLOCKTYPE_PCLK1|RCC_CLOCKTYPE_PCLK2;
  RCC_ClkInitStruct.SYSCLKSource = RCC_SYSCLKSOURCE_PLLCLK;
  RCC_ClkInitStruct.AHBCLKDivider = RCC_SYSCLK_DIV1;
  RCC_ClkInitStruct.APB1CLKDivider = RCC_HCLK_DIV2;
  RCC_ClkInitStruct.APB2CLKDivider = RCC_HCLK_DIV1;

  if (HAL_RCC_ClockConfig(&RCC_ClkInitStruct, FLASH_LATENCY_2) != HAL_OK)
  {
    Error_Handler();
  }
}

static void MX_TIM1_Init(void)
{

  TIM_ClockConfigTypeDef sClockSourceConfig = {0};
  TIM_MasterConfigTypeDef sMasterConfig = {0};

  htim1.Instance = TIM1;
  htim1.Init.Prescaler = 71;
  htim1.Init.CounterMode = TIM_COUNTERMODE_UP;
  htim1.Init.Period = 65535;
  htim1.Init.ClockDivision = TIM_CLOCKDIVISION_DIV1;
  htim1.Init.RepetitionCounter = 0;
  htim1.Init.AutoReloadPreload = TIM_AUTORELOAD_PRELOAD_DISABLE;
  if (HAL_TIM_Base_Init(&htim1) != HAL_OK)
  {
    Error_Handler();
  }
  sClockSourceConfig.ClockSource = TIM_CLOCKSOURCE_INTERNAL;
  if (HAL_TIM_ConfigClockSource(&htim1, &sClockSourceConfig) != HAL_OK)
  {
    Error_Handler();
  }
  sMasterConfig.MasterOutputTrigger = TIM_TRGO_RESET;
  sMasterConfig.MasterSlaveMode = TIM_MASTERSLAVEMODE_DISABLE;
  if (HAL_TIMEx_MasterConfigSynchronization(&htim1, &sMasterConfig) != HAL_OK)
  {
    Error_Handler();
  }

}

static void MX_TIM3_Init(void)
{

  TIM_ClockConfigTypeDef sClockSourceConfig = {0};
  TIM_MasterConfigTypeDef sMasterConfig = {0};
  TIM_OC_InitTypeDef sConfigOC = {0};

  htim3.Instance = TIM3;
  htim3.Init.Prescaler = 35;
  htim3.Init.CounterMode = TIM_COUNTERMODE_UP;
  htim3.Init.Period = 999;
  htim3.Init.ClockDivision = TIM_CLOCKDIVISION_DIV1;
  htim3.Init.AutoReloadPreload = TIM_AUTORELOAD_PRELOAD_DISABLE;
  if (HAL_TIM_Base_Init(&htim3) != HAL_OK)
  {
    Error_Handler();
  }
  sClockSourceConfig.ClockSource = TIM_CLOCKSOURCE_INTERNAL;
  if (HAL_TIM_ConfigClockSource(&htim3, &sClockSourceConfig) != HAL_OK)
  {
    Error_Handler();
  }
  if (HAL_TIM_PWM_Init(&htim3) != HAL_OK)
  {
    Error_Handler();
  }
  sMasterConfig.MasterOutputTrigger = TIM_TRGO_RESET;
  sMasterConfig.MasterSlaveMode = TIM_MASTERSLAVEMODE_DISABLE;
  if (HAL_TIMEx_MasterConfigSynchronization(&htim3, &sMasterConfig) != HAL_OK)
  {
    Error_Handler();
  }
  sConfigOC.OCMode = TIM_OCMODE_PWM1;
  sConfigOC.Pulse = 0;
  sConfigOC.OCPolarity = TIM_OCPOLARITY_HIGH;
  sConfigOC.OCFastMode = TIM_OCFAST_DISABLE;
  if (HAL_TIM_PWM_ConfigChannel(&htim3, &sConfigOC, TIM_CHANNEL_1) != HAL_OK)
  {
    Error_Handler();
  }
  if (HAL_TIM_PWM_ConfigChannel(&htim3, &sConfigOC, TIM_CHANNEL_2) != HAL_OK)
  {
    Error_Handler();
  }
  HAL_TIM_MspPostInit(&htim3);

}

static void MX_GPIO_Init(void)
{
  GPIO_InitTypeDef GPIO_InitStruct = {0};

  /* GPIO Ports Clock Enable */
  __HAL_RCC_GPIOC_CLK_ENABLE();
  __HAL_RCC_GPIOD_CLK_ENABLE();
  __HAL_RCC_GPIOA_CLK_ENABLE();
  __HAL_RCC_GPIOB_CLK_ENABLE();

  /*Configure GPIO pin Output Level */
  HAL_GPIO_WritePin(intLED_GPIO_Port, intLED_Pin, GPIO_PIN_RESET);

  /*Configure GPIO pin Output Level */
  HAL_GPIO_WritePin(GPIOA, INT_1_Pin|INT_2_Pin, GPIO_PIN_RESET);

  /*Configure GPIO pin Output Level */
  HAL_GPIO_WritePin(GPIOB, INT_3_Pin|INT_4_Pin|TRIG_FRONT_Pin|TRIG_LEFT_Pin
                          |TRIG_RIGHT_Pin, GPIO_PIN_RESET);

  /*Configure GPIO pin : intLED_Pin */
  GPIO_InitStruct.Pin = intLED_Pin;
  GPIO_InitStruct.Mode = GPIO_MODE_OUTPUT_PP;
  GPIO_InitStruct.Pull = GPIO_NOPULL;
  GPIO_InitStruct.Speed = GPIO_SPEED_FREQ_LOW;
  HAL_GPIO_Init(intLED_GPIO_Port, &GPIO_InitStruct);

  /*Configure GPIO pins : INT_1_Pin INT_2_Pin */
  GPIO_InitStruct.Pin = INT_1_Pin|INT_2_Pin;
  GPIO_InitStruct.Mode = GPIO_MODE_OUTPUT_PP;
  GPIO_InitStruct.Pull = GPIO_PULLUP;
  GPIO_InitStruct.Speed = GPIO_SPEED_FREQ_LOW;
  HAL_GPIO_Init(GPIOA, &GPIO_InitStruct);

  /*Configure GPIO pins : INT_3_Pin INT_4_Pin */
  GPIO_InitStruct.Pin = INT_3_Pin|INT_4_Pin;
  GPIO_InitStruct.Mode = GPIO_MODE_OUTPUT_PP;
  GPIO_InitStruct.Pull = GPIO_PULLUP;
  GPIO_InitStruct.Speed = GPIO_SPEED_FREQ_LOW;
  HAL_GPIO_Init(GPIOB, &GPIO_InitStruct);

  /*Configure GPIO pin : Button_Press_Pin */
  GPIO_InitStruct.Pin = Button_Press_Pin;
  GPIO_InitStruct.Mode = GPIO_MODE_INPUT;
  GPIO_InitStruct.Pull = GPIO_PULLUP;
  HAL_GPIO_Init(Button_Press_GPIO_Port, &GPIO_InitStruct);

  /*Configure GPIO pin : ECHO_FRONT_Pin */
  GPIO_InitStruct.Pin = ECHO_FRONT_Pin;
  GPIO_InitStruct.Mode = GPIO_MODE_INPUT;
  GPIO_InitStruct.Pull = GPIO_NOPULL;
  HAL_GPIO_Init(ECHO_FRONT_GPIO_Port, &GPIO_InitStruct);

  /*Configure GPIO pins : TRIG_FRONT_Pin TRIG_LEFT_Pin TRIG_RIGHT_Pin */
  GPIO_InitStruct.Pin = TRIG_FRONT_Pin|TRIG_LEFT_Pin|TRIG_RIGHT_Pin;
  GPIO_InitStruct.Mode = GPIO_MODE_OUTPUT_PP;
  GPIO_InitStruct.Pull = GPIO_NOPULL;
  GPIO_InitStruct.Speed = GPIO_SPEED_FREQ_LOW;
  HAL_GPIO_Init(GPIOB, &GPIO_InitStruct);

  /*Configure GPIO pins : ECHO_LEFT_Pin ECHO_RIGHT_Pin */
  GPIO_InitStruct.Pin = ECHO_LEFT_Pin|ECHO_RIGHT_Pin;
  GPIO_InitStruct.Mode = GPIO_MODE_INPUT;
  GPIO_InitStruct.Pull = GPIO_NOPULL;
  HAL_GPIO_Init(GPIOB, &GPIO_InitStruct);

}

void Error_Handler(void)
{
}
